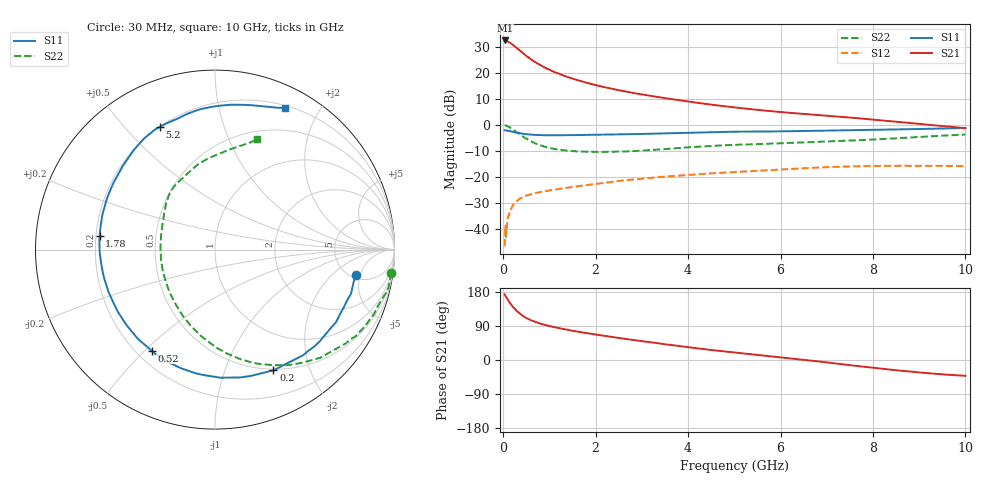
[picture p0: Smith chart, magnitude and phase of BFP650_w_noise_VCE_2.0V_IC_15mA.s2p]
! Infineon Technologies  Discrete & RF Semiconductors
! BFP650
! VCE =  2.0 V,  IC =  15 mA
! Common Emitter S-Parameters:  Jan 2016
# GHz  S  MA  R  50
!  f  S11  S21  S12  S22
! GHz  MAG  ANG  MAG  ANG  MAG  ANG  MAG  ANG
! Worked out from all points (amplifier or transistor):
!   229 points, 30 MHz to 10 GHz, reference 50 ohm
!   highest |S21| = 32.7 dB at 40 MHz (marker M1)
!   |S21| within 3 dB of that: start of sweep to 296.5 MHz
!   unconditionally stable (mu >= 1): 2.948 GHz to end of sweep
!   at 280 MHz: K = 0.18, MSG = 29.8 dB, |S12| = -29.6 dB
!   at 1.78 GHz: K = 0.83, MSG = 19.9 dB, |S12| = -23.2 dB
!   at 10 GHz: K = 1.05, MAG = 6.0 dB, |S12| = -15.8 dB
!   lowest NFmin = 0.62 dB at 450 MHz
!   S11 on the Smith chart (normalised r, x): 30 MHz: 5.45, -4.26; 200 MHz: 0.49, -1.48; 520 MHz: 0.26, -0.52; 1.78 GHz: 0.21, +0.06; 5.2 GHz: 0.20, +0.63; 10 GHz: 0.23, +1.59
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0.03  0.797 -10.3  43.03 173.2  0.0046 86.1  0.9888 -7.5
0.04  0.7932 -14.0  43.2 171.0  0.0068 87.1  0.9893 -9.9
0.06  0.7903 -20.1  42.83 167.2  0.0069 119.2  0.9829 -14.1
0.11  0.7756 -37.7  40.97 157.2  0.0175 69.1  0.939 -26.8
0.15  0.7664 -50.1  38.8 150.2  0.0219 69.0  0.8968 -35.6
0.2  0.7472 -64.2  36.07 141.8  0.0275 59.3  0.8407 -45.8
0.26  0.7256 -79.1  32.63 133.4  0.0322 55.3  0.7682 -56.6
0.36  0.6968 -99.3  27.33 122.2  0.0381 47.3  0.6618 -71.9
0.45  0.6785 -113.4  23.49 114.3  0.0419 43.1  0.5832 -83.3
0.52  0.6648 -122.1  21.05 109.7  0.0443 41.6  0.534 -90.9
0.7  0.6477 -139.7  16.3 100.0  0.0488 37.1  0.4434 -108.1
0.9  0.6386 -153.1  12.92 92.6  0.0531 35.0  0.3825 -123.5
1.3  0.6384 -171.3  9.087 81.7  0.0605 33.7  0.327 -147.0
1.7  0.6458 175.7  6.992 73.1  0.0676 32.7  0.3083 -165.0
1.78  0.6472 173.4  6.685 71.4  0.069 32.4  0.3066 -168.2
2.44  0.6617 157.7  4.85 59.2  0.0822 29.9  0.3065 170.1
3.4  0.6891 139.5  3.43 43.4  0.0997 23.6  0.3397 147.4
5.1  0.7484 115.5  2.151 18.5  0.1253 11.7  0.4197 122.5
5.2  0.7493 114.3  2.105 17.3  0.1268 11.0  0.4221 121.2
6.8  0.7796 98.4  1.575 -3.5  0.1515 -2.0  0.4763 103.1
8.4  0.8235 78.3  1.187 -25.7  0.1639 -18.0  0.5503 84.1
10  0.8809 63.7  0.875 -41.7  0.1615 -29.6  0.6572 69.3
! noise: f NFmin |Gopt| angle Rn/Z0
0.45  0.62  0.09  77  0.63
0.9  0.63  0.13  149  0.3
1.9  0.82  0.25  177  0.05
2.4  0.9  0.27  -167  0.07
3.5  1.2  0.32  -133  0.12
